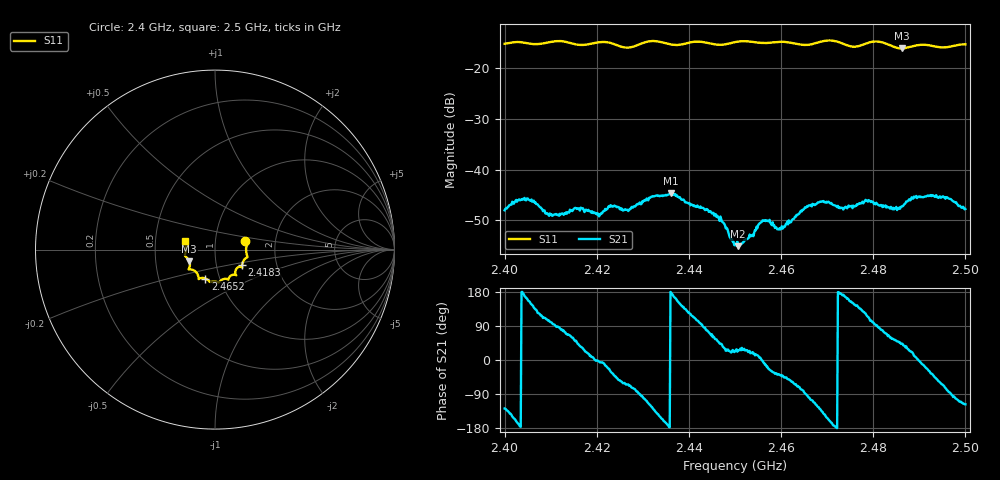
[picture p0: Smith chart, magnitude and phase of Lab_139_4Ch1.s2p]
# Hz S RI R 50
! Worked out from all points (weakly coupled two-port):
!   601 points, 2.4 GHz to 2.5 GHz, reference 50 ohm
!   highest |S21| = -44.64 dB at 2.4362 GHz (marker M1); lowest = -55.1 dB at 2.4507 GHz (marker M2)
!   lowest |S11| = -16.1 dB at 2.4862 GHz (marker M3), VSWR 1.37, Z = 37.2 - j4.89 ohm
!   |S11| at or under -10 dB: start of sweep to end of sweep
!   S12 and S22 are empty: the file has one direction only
!   S11 on the Smith chart (normalised r, x): 2.4 GHz: 1.40, +0.13; 2.4183 GHz: 1.33, -0.24; 2.4652 GHz: 0.85, -0.28; 2.5 GHz: 0.71, +0.07
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2.4e9  0.1683 0.0468  -0.00244 -0.00313  0 0  0 0
2.4045e9  0.1768 0.0229  -0.00487 0.00115  0 0  0 0
2.41e9  0.1789 -0.0335  -0.000603 0.00352  0 0  0 0
2.416667e9  0.1555 -0.0682  0.00347 0.00234  0 0  0 0
2.418333e9  0.1502 -0.0867  0.00376 0.00103  0 0  0 0
2.426833e9  0.1198 -0.1062  0.00168 -0.00352  0 0  0 0
2.433333e9  0.1171 -0.1415  -0.00441 -0.00328  0 0  0 0
2.436167e9  0.0987 -0.1403  -0.00586 0.000281  0 0  0 0
2.445667e9  0.057 -0.1625  0.00208 0.003  0 0  0 0
2.45e9  0.0258 -0.1795  0.00166 0.000678  0 0  0 0
2.450667e9  0.0239 -0.182  0.00159 0.000748  0 0  0 0
2.456e9  -0.000253 -0.1778  0.00316 -0.00012  0 0  0 0
2.459833e9  -0.0262 -0.1808  0.00197 -0.00165  0 0  0 0
2.465167e9  -0.0545 -0.1611  0.000152 -0.00424  0 0  0 0
2.466667e9  -0.0706 -0.1578  -0.00121 -0.00416  0 0  0 0
2.473333e9  -0.0923 -0.1494  -0.00414 0.000689  0 0  0 0
2.478833e9  -0.1402 -0.1102  -0.00197 0.00441  0 0  0 0
2.483333e9  -0.1414 -0.0966  0.00179 0.00387  0 0  0 0
2.486167e9  -0.1432 -0.0641  0.00319 0.00296  0 0  0 0
2.488833e9  -0.1611 -0.0416  0.00532 0.00109  0 0  0 0
2.492667e9  -0.1654 -0.0225  0.00443 -0.00323  0 0  0 0
2.5e9  -0.1656 0.0474  -0.00186 -0.00365  0 0  0 0
